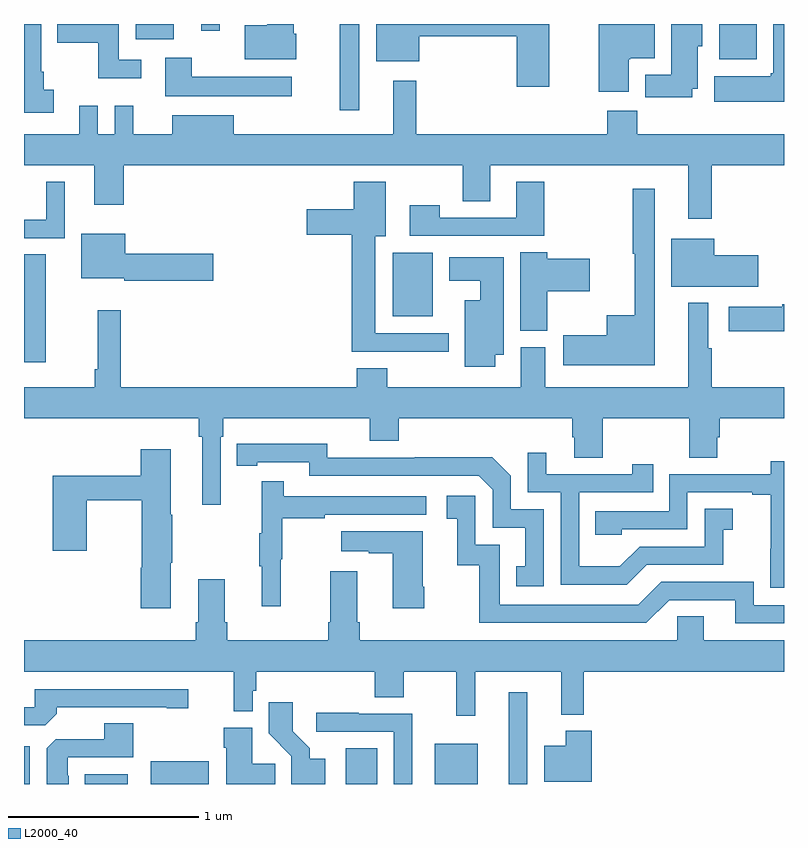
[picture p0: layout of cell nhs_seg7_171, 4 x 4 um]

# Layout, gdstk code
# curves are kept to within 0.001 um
import gdstk
lib = gdstk.Library(unit=1e-6, precision=1e-09)
def R(c, l, rs):  # rectangles x0, y0, x1, y1
    for r in rs: c.add(gdstk.rectangle(r[:2], r[2:], *l))
def P(c, l, *ps):  # polygons
    for p in ps: c.add(gdstk.Polygon(p, *l))
L2000_40 = (2000, 40)

nhs_seg7_171 = lib.new_cell('nhs_seg7_171')
R(nhs_seg7_171, L2000_40, [(123,1024,123.031,1024.198), (123.32,1024,123.547,1024.051), (123.666,1024,123.973,1024.12), (124.694,1024,124.858,1024.189), (125.162,1024,125.389,1024.213), (125.552,1024,125.649,1024.483), (123,1026.219,123.115,1026.788), (124.94,1026.461,125.152,1026.796), (124.661,1027.545,124.765,1028), (126.659,1027.814,126.856,1028), (123.587,1027.919,123.787,1028), (123.932,1027.965,124.03,1028)])
P(nhs_seg7_171, L2000_40, [(127,1028),(126.944,1028),(126.944,1027.74),(126.931,1027.74),(126.931,1027.726),(126.632,1027.726),(126.632,1027.592),(127,1027.592)],
  [(126.517,1027.658),(126.547,1027.658),(126.547,1027.884),(126.571,1027.884),(126.571,1028),(126.407,1028),(126.407,1027.732),(126.269,1027.732),(126.269,1027.614),(126.517,1027.614)],
  [(124.432,1027.95),(124.42,1027.95),(124.42,1028),(124.28,1028),(124.28,1027.993),(124.163,1027.993),(124.163,1027.814),(124.432,1027.814)],
  [(123.616,1027.812),(123.498,1027.812),(123.498,1028),(123.175,1028),(123.175,1027.901),(123.39,1027.901),(123.39,1027.715),(123.616,1027.715)],
  [(126.184,1027.814),(126.19,1027.814),(126.19,1027.82),(126.319,1027.82),(126.319,1028),(126.026,1028),(126.026,1027.644),(126.184,1027.644)],
  [(123.157,1027.654),(123.103,1027.654),(123.103,1027.75),(123.09,1027.75),(123.09,1028),(123,1028),(123,1027.532),(123.157,1027.532)],
  [(125.764,1028),(124.853,1028),(124.853,1027.805),(125.08,1027.805),(125.08,1027.936),(125.594,1027.936),(125.594,1027.671),(125.764,1027.671)],
  [(124.408,1027.723),(123.883,1027.723),(123.883,1027.822),(123.743,1027.822),(123.743,1027.619),(124.408,1027.619)],
  [(126.619,1027.256),(127,1027.256),(127,1027.42),(126.227,1027.42),(126.227,1027.544),(126.071,1027.544),(126.071,1027.42),(125.065,1027.42),(125.065,1027.702),(124.943,1027.702),(124.943,1027.42),(124.105,1027.42),(124.105,1027.519),(123.779,1027.519),(123.779,1027.42),(123.575,1027.42),(123.575,1027.57),(123.477,1027.57),(123.477,1027.42),(123.387,1027.42),(123.387,1027.57),(123.29,1027.57),(123.29,1027.42),(123,1027.42),(123,1027.256),(123.371,1027.256),(123.371,1027.05),(123.524,1027.05),(123.524,1027.256),(125.308,1027.256),(125.308,1027.066),(125.455,1027.066),(125.455,1027.256),(126.497,1027.256),(126.497,1026.975),(126.619,1026.975)],
  [(125.739,1027.171),(125.591,1027.171),(125.591,1026.981),(125.187,1026.981),(125.187,1027.045),(125.031,1027.045),(125.031,1026.885),(125.739,1026.885)],
  [(123.214,1027.171),(123.116,1027.171),(123.116,1026.969),(123,1026.969),(123,1026.873),(123.214,1026.873)],
  [(125.236,1026.372),(124.849,1026.372),(124.849,1026.884),(124.903,1026.884),(124.903,1027.171),(124.736,1027.171),(124.736,1027.024),(124.488,1027.024),(124.488,1026.89),(124.724,1026.89),(124.724,1026.275),(125.236,1026.275)],
  [(126.319,1027.132),(126.205,1027.132),(126.205,1026.791),(126.215,1026.791),(126.215,1026.466),(126.068,1026.466),(126.068,1026.361),(125.838,1026.361),(125.838,1026.203),(126.319,1026.203)],
  [(123.997,1026.792),(123.532,1026.792),(123.532,1026.895),(123.302,1026.895),(123.302,1026.662),(123.528,1026.662),(123.528,1026.65),(123.997,1026.65)],
  [(126.865,1026.783),(126.634,1026.783),(126.634,1026.871),(126.407,1026.871),(126.407,1026.617),(126.865,1026.617)],
  [(125.754,1026.593),(125.977,1026.593),(125.977,1026.764),(125.754,1026.764),(125.754,1026.8),(125.612,1026.8),(125.612,1026.385),(125.754,1026.385)],
  [(125.479,1026.26),(125.524,1026.26),(125.524,1026.772),(125.237,1026.772),(125.237,1026.65),(125.402,1026.65),(125.402,1026.547),(125.321,1026.547),(125.321,1026.195),(125.479,1026.195)],
  [(124.035,1025.828),(124.049,1025.828),(124.049,1025.924),(124.82,1025.924),(124.82,1025.807),(124.973,1025.807),(124.973,1025.924),(125.885,1025.924),(125.885,1025.826),(125.897,1025.826),(125.897,1025.716),(126.045,1025.716),(126.045,1025.924),(126.502,1025.924),(126.502,1025.716),(126.649,1025.716),(126.649,1025.826),(126.662,1025.826),(126.662,1025.924),(127,1025.924),(127,1026.088),(126.619,1026.088),(126.619,1026.293),(126.601,1026.293),(126.601,1026.532),(126.497,1026.532),(126.497,1026.088),(125.743,1026.088),(125.743,1026.3),(125.615,1026.3),(125.615,1026.088),(124.911,1026.088),(124.911,1026.187),(124.751,1026.187),(124.751,1026.088),(123.509,1026.088),(123.509,1026.493),(123.388,1026.493),(123.388,1026.184),(123.373,1026.184),(123.373,1026.088),(123,1026.088),(123,1025.924),(123.919,1025.924),(123.919,1025.828),(123.938,1025.828),(123.938,1025.469),(124.035,1025.469)],
  [(127,1026.524),(126.992,1026.524),(126.992,1026.511),(126.708,1026.511),(126.708,1026.382),(127,1026.382)],
  [(125.736,1025.445),(125.562,1025.445),(125.562,1025.622),(125.464,1025.72),(125.056,1025.72),(125.056,1025.718),(124.596,1025.718),(124.596,1025.791),(124.12,1025.79),(124.12,1025.674),(124.228,1025.674),(124.228,1025.694),(124.5,1025.694),(124.5,1025.622),(125.394,1025.622),(125.466,1025.55),(125.466,1025.349),(125.639,1025.349),(125.639,1025.145),(125.59,1025.145),(125.59,1025.04),(125.736,1025.04)],
  [(123.772,1025.164),(123.78,1025.164),(123.78,1025.417),(123.772,1025.417),(123.772,1025.761),(123.614,1025.761),(123.614,1025.623),(123.152,1025.623),(123.152,1025.228),(123.33,1025.228),(123.33,1025.494),(123.619,1025.494),(123.619,1025.138),(123.614,1025.138),(123.614,1024.926),(123.772,1024.926)],
  [(126.277,1025.154),(126.681,1025.154),(126.681,1025.339),(126.73,1025.339),(126.73,1025.449),(126.582,1025.449),(126.582,1025.25),(126.24,1025.25),(126.136,1025.146),(125.922,1025.146),(125.922,1025.535),(126.311,1025.535),(126.311,1025.683),(126.2,1025.683),(126.2,1025.631),(125.749,1025.631),(125.749,1025.743),(125.652,1025.743),(125.652,1025.535),(125.826,1025.535),(125.826,1025.049),(126.172,1025.049)],
  [(127,1025.7),(126.93,1025.7),(126.93,1025.631),(126.396,1025.631),(126.396,1025.436),(126.007,1025.436),(126.007,1025.313),(126.147,1025.313),(126.147,1025.34),(126.492,1025.34),(126.492,1025.535),(126.833,1025.535),(126.833,1025.523),(126.929,1025.523),(126.929,1025.239),(126.928,1025.239),(126.928,1025.033),(127,1025.033)],
  [(124.352,1025.184),(124.36,1025.184),(124.36,1025.398),(124.583,1025.398),(124.583,1025.418),(125.116,1025.418),(125.116,1025.514),(124.367,1025.514),(124.367,1025.593),(124.25,1025.593),(124.25,1025.321),(124.239,1025.321),(124.239,1025.147),(124.25,1025.147),(124.25,1024.935),(124.352,1024.935)],
  [(127,1024.941),(126.84,1024.941),(126.84,1025.064),(126.354,1025.064),(126.234,1024.944),(125.505,1024.944),(125.505,1025.259),(125.376,1025.259),(125.376,1025.518),(125.226,1025.518),(125.226,1025.397),(125.279,1025.397),(125.279,1025.151),(125.397,1025.151),(125.397,1024.848),(126.276,1024.848),(126.396,1024.968),(126.743,1024.968),(126.743,1024.845),(127,1024.845)],
  [(125.106,1025.038),(125.098,1025.038),(125.098,1025.329),(124.671,1025.329),(124.671,1025.225),(124.814,1025.225),(124.814,1025.215),(124.94,1025.215),(124.94,1024.926),(125.106,1024.926)],
  [(127,1024.756),(126.577,1024.756),(126.577,1024.883),(126.438,1024.883),(126.438,1024.756),(124.766,1024.756),(124.766,1024.852),(124.753,1024.852),(124.753,1025.119),(124.613,1025.119),(124.613,1024.852),(124.601,1024.852),(124.601,1024.756),(124.07,1024.756),(124.07,1024.852),(124.057,1024.852),(124.057,1025.077),(123.917,1025.077),(123.917,1024.852),(123.905,1024.852),(123.905,1024.756),(123,1024.756),(123,1024.592),(124.105,1024.592),(124.105,1024.382),(124.203,1024.382),(124.203,1024.491),(124.223,1024.491),(124.223,1024.592),(124.847,1024.592),(124.847,1024.456),(124.999,1024.456),(124.999,1024.592),(125.275,1024.592),(125.275,1024.359),(125.375,1024.359),(125.375,1024.592),(125.828,1024.592),(125.828,1024.364),(125.945,1024.364),(125.945,1024.592),(127,1024.592)],
  [(123.173,1024.37),(123.173,1024.404),(123.752,1024.404),(123.752,1024.399),(123.865,1024.399),(123.865,1024.5),(123.057,1024.5),(123.057,1024.404),(123,1024.404),(123,1024.308),(123.111,1024.308)],
  [(124.585,1024.132),(124.504,1024.132),(124.504,1024.187),(124.414,1024.277),(124.414,1024.429),(124.288,1024.429),(124.288,1024.266),(124.407,1024.147),(124.407,1024),(124.585,1024)],
  [(125.043,1024.371),(124.763,1024.371),(124.763,1024.374),(124.539,1024.374),(124.539,1024.275),(124.947,1024.275),(124.947,1024),(125.043,1024)],
  [(123.235,1024.043),(123.231,1024.043),(123.231,1024.14),(123.575,1024.14),(123.575,1024.319),(123.422,1024.319),(123.422,1024.236),(123.168,1024.236),(123.119,1024.187),(123.119,1024),(123.235,1024)],
  [(124.322,1024.106),(124.201,1024.106),(124.201,1024.297),(124.052,1024.297),(124.052,1024.19),(124.064,1024.19),(124.064,1024),(124.322,1024)],
  [(125.987,1024.279),(125.852,1024.279),(125.852,1024.201),(125.738,1024.201),(125.738,1024.013),(125.987,1024.013)])

lib.write_gds('nhs_seg7_171.gds')
